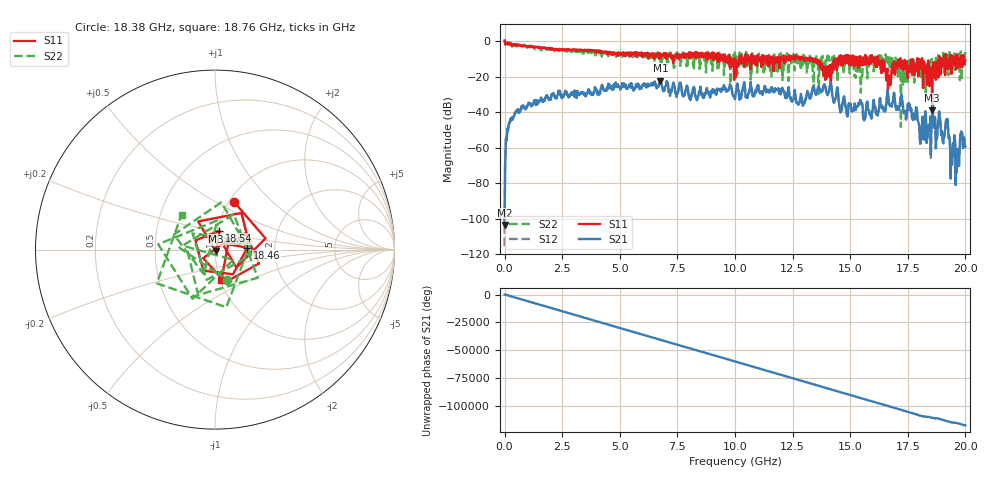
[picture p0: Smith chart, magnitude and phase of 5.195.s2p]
! Created with skrf 1.9.0 (http://scikit-rf.org).
# Hz S RI R 50.0
!freq ReS11 ImS11 ReS21 ImS21 ReS12 ImS12 ReS22 ImS22
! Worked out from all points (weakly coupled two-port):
!   1001 points, 1 MHz to 20 GHz, reference 50 ohm
!   highest |S21| = -22.15 dB at 6.761 GHz (marker M1); lowest = -103.4 dB at 1 MHz (marker M2)
!   lowest |S11| = -38.9 dB at 18.56 GHz (marker M3), VSWR 1.02, Z = 50.5 - j1.04 ohm
!   |S11| at or under -10 dB: 13.43 GHz to 14.32 GHz (889.4 MHz wide, 6.41 % of centre); 16.22 GHz to 17.16 GHz (938.3 MHz wide, 5.62 % of centre); 18.12 GHz to 18.87 GHz (750.1 MHz wide, 4.06 % of centre) (the widest 3 of 96)
!   |S22| runs from -48.3 to -0.2 dB; largest |S21 - S12| = 0.0082
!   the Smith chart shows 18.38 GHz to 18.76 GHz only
!   S11 on the Smith chart (normalised r, x): 18.38 GHz: 1.05, +0.61; 18.46 GHz: 1.44, +0.03; 18.54 GHz: 1.03, +0.22; 18.76 GHz: 1.01, -0.35
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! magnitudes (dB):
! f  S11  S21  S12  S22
! 1 MHz  0.4  -103.4  -115.4  -0.2
! 161 MHz  -1.5  -49.4  -49.4  -1.8
! 481 MHz  -1.8  -40.3  -39.8  -2.6
! 3.341 GHz  -4.8  -28.6  -28.8  -6.6
! 6.681 GHz  -7.3  -25.7  -25.3  -8.2
! 6.761 GHz  -9.0  -22.1  -22.3  -9.7
! 10 GHz  -9.5  -32.3  -32.7  -7.2
! 13.34 GHz  -10.8  -28.5  -28.1  -14.2
! 13.94 GHz  -14.4  -26.9  -27.1  -9.9
! 15.6 GHz  -9.0  -44.6  -44.6  -12.9
! 16.68 GHz  -23.1  -35.2  -35.1  -9.1
! 17.28 GHz  -11.6  -35.4  -35.4  -24.5
! 18.38 GHz  -10.8  -47.9  -47.9  -14.8
! 18.46 GHz  -14.9  -50.2  -49.7  -11.4
! 18.54 GHz  -19.4  -47.0  -46.9  -10.0
! 18.56 GHz  -38.9  -40.1  -40.2  -15.8
! 18.76 GHz  -15.3  -55.2  -54.9  -11.4
! 19.2 GHz  -15.7  -45.2  -44.9  -10.1
! 19.4 GHz  -18.5  -63.5  -63.0  -9.0
! 19.66 GHz  -12.5  -68.0  -68.1  -9.8
! 19.86 GHz  -14.7  -52.2  -51.7  -8.2
! 20 GHz  -10.7  -59.4  -58.7  -6.1
